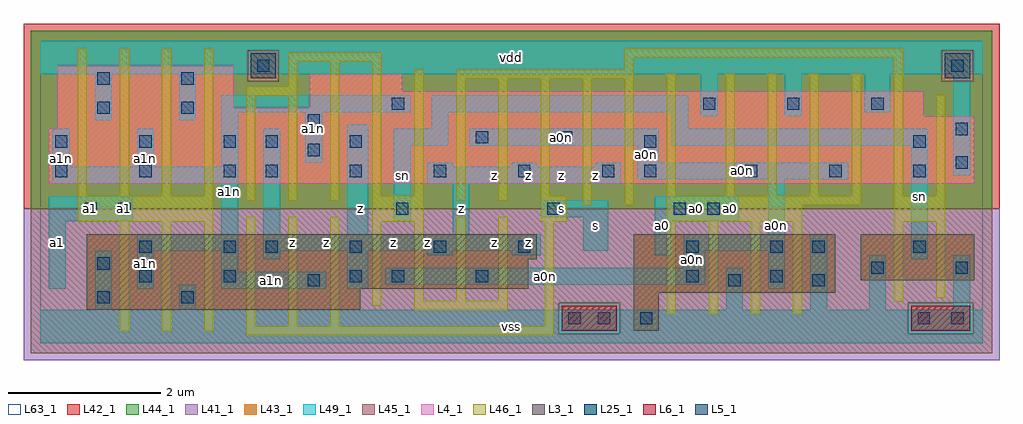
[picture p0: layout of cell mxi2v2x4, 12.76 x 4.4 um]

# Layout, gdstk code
import gdstk
lib = gdstk.Library(unit=1e-6, precision=1e-09)
def R(c, l, rs):  # rectangles x0, y0, x1, y1
    for r in rs: c.add(gdstk.rectangle(r[:2], r[2:], *l))
def A(c, l, x, y, w, h, nx, ny, dx, dy):  # array of equal rectangles
    R(c, l, [(x+i*dx, y+j*dy, x+i*dx+w, y+j*dy+h) for i in range(nx) for j in range(ny)])
L3_1 = (3, 1)
L4_1 = (4, 1)
L5_1 = (5, 1)
L6_1 = (6, 1)
L25_1 = (25, 1)
L41_1 = (41, 1)
L42_1 = (42, 1)
L43_1 = (43, 1)
L44_1 = (44, 1)
L45_1 = (45, 1)
L46_1 = (46, 1)
L49_1 = (49, 1)
L63_1 = (63, 1)

mxi2v2x4 = lib.new_cell('mxi2v2x4')
R(mxi2v2x4, L3_1, [(7.755,0.165,8.085,0.66), (0.605,0.44,4.18,0.715), (7.755,0.66,10.395,1.43), (0.605,0.715,6.38,1.1), (10.725,0.825,12.21,1.43), (0.605,1.1,6.49,1.43)])
R(mxi2v2x4, L4_1, [(0.11,2.09,12.21,2.805), (0.22,2.805,12.21,2.97), (0.22,2.97,11.55,3.08), (0.22,3.08,2.53,3.63), (3.52,3.08,11.55,3.3), (3.52,3.3,4.73,3.52)])
R(mxi2v2x4, L5_1, [(2.75,3.465,3.08,3.795), (11.825,3.465,12.155,3.795)])
R(mxi2v2x4, L6_1, [(6.82,0.165,7.535,0.495), (11.385,0.165,12.155,0.495)])
A(mxi2v2x4, L25_1, 2.945, 1.185, 0.16, 0.16, 4, 1, 1.1, 0)
A(mxi2v2x4, L25_1, 0.195, 2.175, 0.16, 0.16, 3, 2, 1.1, 0.385)
A(mxi2v2x4, L25_1, 2.945, 2.175, 0.16, 0.16, 5, 1, 1.1, 0)
A(mxi2v2x4, L25_1, 9.215, 2.175, 0.16, 0.16, 3, 1, 1.1, 0)
A(mxi2v2x4, L25_1, 8.665, 3.055, 0.16, 0.16, 3, 1, 1.1, 0)
R(mxi2v2x4, L25_1, [(6.905,0.25,7.065,0.41), (7.29,0.25,7.45,0.41), (7.84,0.25,8,0.41), (11.47,0.25,11.63,0.41), (11.91,0.25,12.07,0.41), (0.745,0.525,0.905,0.685), (1.845,0.525,2.005,0.685), (3.495,0.745,3.655,0.905), (8.995,0.745,9.155,0.905), (10.095,0.745,10.255,0.905), (1.295,0.8,1.455,0.96), (2.395,0.8,2.555,0.96), (4.045,0.8,4.205,0.96), (4.595,0.8,4.755,0.96), (5.695,0.8,5.855,0.96), (8.445,0.8,8.605,0.96), (9.545,0.8,9.705,0.96), (10.865,0.91,11.025,1.07), (11.965,0.91,12.125,1.07), (0.745,0.965,0.905,1.125), (1.295,1.185,1.455,1.345), (2.395,1.185,2.555,1.345), (8.445,1.185,8.605,1.345), (9.545,1.185,9.705,1.345), (10.095,1.185,10.255,1.345), (11.415,1.185,11.575,1.345), (0.58,1.68,0.74,1.84), (1.02,1.68,1.18,1.84), (4.65,1.68,4.81,1.84), (6.63,1.68,6.79,1.84), (8.28,1.68,8.44,1.84), (8.72,1.68,8.88,1.84), (7.895,2.175,8.055,2.335), (11.965,2.285,12.125,2.445), (3.495,2.45,3.655,2.61), (2.945,2.56,3.105,2.72), (4.045,2.56,4.205,2.72), (7.895,2.56,8.055,2.72), (11.415,2.56,11.575,2.72), (5.695,2.615,5.855,2.775), (6.795,2.615,6.955,2.775), (11.965,2.725,12.125,2.885), (3.495,2.835,3.655,2.995), (0.745,3,0.905,3.16), (1.845,3,2.005,3.16), (4.595,3.055,4.755,3.215), (0.745,3.385,0.905,3.545), (1.845,3.385,2.005,3.545), (2.835,3.55,2.995,3.71), (11.91,3.55,12.07,3.71)])
R(mxi2v2x4, L41_1, [(-0.22,-0.22,12.54,1.76)])
R(mxi2v2x4, L42_1, [(-0.22,1.76,12.54,4.18)])
R(mxi2v2x4, L43_1, [(6.82,0.165,7.535,0.495), (7.755,0.165,8.085,0.66), (11.385,0.165,12.155,0.495), (0.605,0.44,4.18,0.715), (7.755,0.66,10.395,1.43), (0.605,0.715,6.38,1.1), (10.725,0.825,12.21,1.43), (0.605,1.1,6.49,1.43), (0.11,2.09,12.21,2.805), (0.22,2.805,12.21,2.97), (0.22,2.97,11.55,3.08), (0.22,3.08,2.53,3.63), (3.52,3.08,11.55,3.3), (3.52,3.3,4.73,3.52), (2.75,3.465,3.08,3.795), (11.825,3.465,12.155,3.795)])
R(mxi2v2x4, L44_1, [(6.78,0.125,7.575,0.535), (11.345,0.125,12.195,0.535), (-0.125,1.76,12.445,3.425), (-0.125,3.425,2.71,3.835), (3.12,3.425,11.785,3.835), (12.195,3.425,12.445,3.835), (-0.125,3.835,12.445,4.085)])
R(mxi2v2x4, L45_1, [(-0.125,-0.125,12.445,0.125), (-0.125,0.125,6.78,0.535), (7.575,0.125,11.345,0.535), (12.195,0.125,12.445,0.535), (-0.125,0.535,12.445,1.76), (2.71,3.425,3.12,3.835), (11.785,3.425,12.195,3.835)])
A(mxi2v2x4, L46_1, 1.04, 0.16, 0.12, 1.43, 3, 1, 0.55, 0)
A(mxi2v2x4, L46_1, 2.69, 0.225, 0.12, 1.43, 3, 1, 0.55, 0)
A(mxi2v2x4, L46_1, 8.19, 0.38, 0.12, 1.21, 4, 1, 0.55, 0)
A(mxi2v2x4, L46_1, 0.49, 1.93, 0.12, 1.925, 4, 1, 0.55, 0)
A(mxi2v2x4, L46_1, 8.96, 1.93, 0.12, 1.595, 4, 1, 0.55, 0)
R(mxi2v2x4, L46_1, [(2.69,0.105,6.715,0.225), (6.595,0.225,6.715,1.59), (4.89,0.435,6.11,0.555), (4.34,0.49,4.46,1.59), (11.16,0.545,11.28,1.59), (4.89,0.555,5.01,1.59), (5.44,0.555,5.56,1.655), (5.99,0.555,6.11,1.655), (11.71,0.6,11.83,1.59), (0.49,1.59,2.26,1.93), (4.34,1.59,5.01,1.93), (6.54,1.59,6.88,1.93), (8.19,1.59,9.96,1.81), (11.16,1.59,11.83,1.93), (7.09,1.81,7.21,3.46), (7.64,1.81,7.76,3.46), (8.19,1.81,10.73,1.93), (2.69,1.865,2.81,3.24), (3.24,1.865,3.36,3.24), (3.79,1.865,3.91,3.68), (5.44,1.865,5.56,3.46), (5.99,1.865,6.11,3.46), (4.34,1.93,4.46,3.68), (4.89,1.93,5.01,3.58), (6.54,1.93,6.66,3.46), (8.19,1.93,8.31,3.525), (11.16,1.93,11.28,3.735), (11.71,1.93,11.83,3.25), (2.69,3.24,3.36,3.36), (3.24,3.36,3.36,3.68), (5.44,3.46,7.76,3.58), (7.64,3.58,7.76,3.735), (3.24,3.68,4.46,3.8), (7.64,3.735,11.28,3.855)])
A(mxi2v2x4, L49_1, 5.06, 2.31, 0.33, 0.055, 3, 1, 1.1, 0)
R(mxi2v2x4, L49_1, [(0,0,12.32,0.44), (0.715,0.44,0.935,1.21), (1.815,0.44,2.035,0.77), (8.965,0.44,9.185,0.99), (10.065,0.44,10.285,1.43), (10.835,0.44,11.055,1.155), (11.935,0.44,12.155,1.155), (0.11,0.715,0.33,1.595), (1.265,0.715,1.485,1.21), (2.365,0.715,3.74,0.935), (4.015,0.715,4.29,1.21), (9.515,0.715,9.735,1.21), (4.51,0.77,8.69,0.99), (2.365,0.935,2.585,1.21), (8.415,0.99,8.69,1.21), (2.915,1.1,3.135,1.21), (11.385,1.1,11.605,2.585), (5.06,1.155,5.39,1.21), (6.16,1.155,6.545,1.21), (8.03,1.155,8.25,1.595), (1.265,1.21,2.585,1.43), (2.915,1.21,6.545,1.43), (7.095,1.21,7.425,1.65), (8.415,1.21,9.735,1.43), (2.365,1.43,2.585,2.09), (2.915,1.43,3.135,2.805), (4.015,1.43,4.29,2.86), (5.39,1.43,5.61,2.09), (9.515,1.43,9.735,2.145), (0.11,1.595,1.21,1.925), (4.62,1.595,4.84,2.585), (8.03,1.595,9.13,1.925), (6.545,1.65,7.425,1.87), (0.165,2.09,2.585,2.31), (5.06,2.09,7.59,2.31), (7.81,2.145,10.56,2.365), (11.935,2.2,12.155,3.52), (0.165,2.31,0.385,2.805), (1.265,2.31,1.485,2.805), (2.365,2.31,2.585,3.025), (3.465,2.365,3.685,3.025), (7.81,2.365,8.085,2.585), (4.62,2.585,5.335,2.805), (5.61,2.585,8.085,2.805), (8.25,2.585,11.605,2.805), (5.115,2.805,5.335,3.025), (8.25,2.805,8.47,3.025), (0.715,2.915,0.935,3.52), (1.815,2.915,2.035,3.52), (8.635,2.97,8.855,3.52), (9.735,2.97,9.955,3.52), (2.365,3.025,4.84,3.245), (5.115,3.025,8.47,3.245), (10.78,3.025,11.11,3.52), (0,3.52,12.32,3.96)])
R(mxi2v2x4, L63_1, [(0,0,12.32,3.96)])
mxi2v2x4.add(gdstk.Label('a1n', (1.375,1.045), layer=49, texttype=1))
mxi2v2x4.add(gdstk.Label('a1', (0.22,1.32), layer=49, texttype=1))
mxi2v2x4.add(gdstk.Label('a1', (0.66,1.76), layer=49, texttype=1))
mxi2v2x4.add(gdstk.Label('a1', (1.1,1.76), layer=49, texttype=1))
mxi2v2x4.add(gdstk.Label('a1n', (0.275,2.42), layer=49, texttype=1))
mxi2v2x4.add(gdstk.Label('a1n', (1.375,2.42), layer=49, texttype=1))
mxi2v2x4.add(gdstk.Label('a1n', (3.025,0.825), layer=49, texttype=1))
mxi2v2x4.add(gdstk.Label('z', (3.3,1.32), layer=49, texttype=1))
mxi2v2x4.add(gdstk.Label('z', (3.74,1.32), layer=49, texttype=1))
mxi2v2x4.add(gdstk.Label('z', (4.62,1.32), layer=49, texttype=1))
mxi2v2x4.add(gdstk.Label('z', (4.18,1.76), layer=49, texttype=1))
mxi2v2x4.add(gdstk.Label('sn', (4.73,2.2), layer=49, texttype=1))
mxi2v2x4.add(gdstk.Label('a1n', (2.475,1.98), layer=49, texttype=1))
mxi2v2x4.add(gdstk.Label('a1n', (3.575,2.805), layer=49, texttype=1))
mxi2v2x4.add(gdstk.Label('vss', (6.16,0.22), layer=49, texttype=1))
mxi2v2x4.add(gdstk.Label('z', (5.06,1.32), layer=49, texttype=1))
mxi2v2x4.add(gdstk.Label('z', (5.94,1.32), layer=49, texttype=1))
mxi2v2x4.add(gdstk.Label('z', (6.38,1.32), layer=49, texttype=1))
mxi2v2x4.add(gdstk.Label('z', (5.5,1.76), layer=49, texttype=1))
mxi2v2x4.add(gdstk.Label('s', (6.82,1.76), layer=49, texttype=1))
mxi2v2x4.add(gdstk.Label('s', (7.26,1.54), layer=49, texttype=1))
mxi2v2x4.add(gdstk.Label('z', (5.94,2.2), layer=49, texttype=1))
mxi2v2x4.add(gdstk.Label('z', (6.38,2.2), layer=49, texttype=1))
mxi2v2x4.add(gdstk.Label('z', (6.82,2.2), layer=49, texttype=1))
mxi2v2x4.add(gdstk.Label('z', (7.26,2.2), layer=49, texttype=1))
mxi2v2x4.add(gdstk.Label('vdd', (6.16,3.74), layer=49, texttype=1))
mxi2v2x4.add(gdstk.Label('a0n', (8.525,1.1), layer=49, texttype=1))
mxi2v2x4.add(gdstk.Label('a0n', (6.6,0.88), layer=49, texttype=1))
mxi2v2x4.add(gdstk.Label('a0', (9.02,1.76), layer=49, texttype=1))
mxi2v2x4.add(gdstk.Label('a0', (8.58,1.76), layer=49, texttype=1))
mxi2v2x4.add(gdstk.Label('a0', (8.14,1.54), layer=49, texttype=1))
mxi2v2x4.add(gdstk.Label('a0n', (7.92,2.475), layer=49, texttype=1))
mxi2v2x4.add(gdstk.Label('a0n', (9.625,1.54), layer=49, texttype=1))
mxi2v2x4.add(gdstk.Label('a0n', (6.82,2.695), layer=49, texttype=1))
mxi2v2x4.add(gdstk.Label('a0n', (9.185,2.255), layer=49, texttype=1))
mxi2v2x4.add(gdstk.Label('sn', (11.495,1.925), layer=49, texttype=1))

lib.write_gds('mxi2v2x4.gds')
